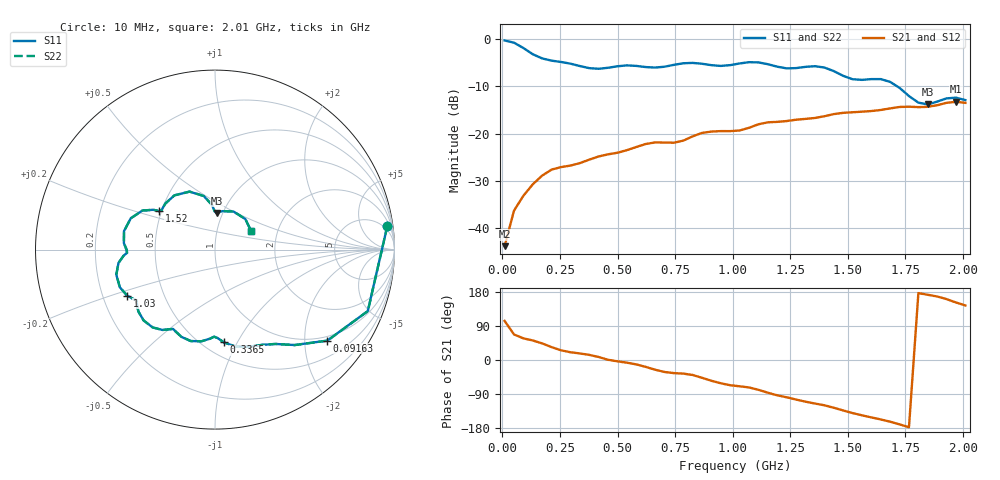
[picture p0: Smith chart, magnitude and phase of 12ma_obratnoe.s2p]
# MHz S MA R 50
!  freq  S11  S21  S12  S22
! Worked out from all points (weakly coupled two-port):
!   50 points, 10 MHz to 2.01 GHz, reference 50 ohm
!   highest |S21| = -13.27 dB at 1.969 GHz (marker M1); lowest = -43.9 dB at 10 MHz (marker M2)
!   lowest |S11| = -13.8 dB at 1.847 GHz (marker M3), VSWR 1.51, Z = 46.8 + j19.9 ohm
!   |S11| at or under -10 dB: 1.714 GHz to end of sweep
!   |S22| runs from -13.8 to -0.3 dB; largest |S21 - S12| = 0.00065
!   S11 on the Smith chart (normalised r, x): 10 MHz: 3, +14; 91.63 MHz: 0.89, -2.55; 336.5 MHz: 0.62, -0.88; 1.03 GHz: 0.30, -0.22; 1.52 GHz: 0.49, +0.24; 2.01 GHz: 1.46, +0.32
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10  0.9689 7.8  0.00641 103.1  0.00639 102.9  0.9688 7.8
50.81633  0.9175 -21.9  0.01525 67.4  0.01525 67.6  0.9179 -21.9
91.63265  0.8053 -39.0  0.02196 57.1  0.02197 57.1  0.806 -39.0
132.449  0.6921 -50.2  0.02903 51.5  0.02898 51.6  0.6924 -50.2
214.0816  0.5919 -63.7  0.04151 34.0  0.04155 33.9  0.592 -63.7
336.5306  0.5191 -84.5  0.0486 17.2  0.0486 17.3  0.5192 -84.6
377.3469  0.4933 -88.3  0.05289 13.5  0.05291 13.5  0.4935 -88.3
540.6122  0.5272 -104.8  0.06665 -7.1  0.06662 -7.1  0.5271 -104.8
703.8776  0.5104 -119.7  0.08029 -31.6  0.08022 -31.7  0.5106 -119.6
826.3265  0.5604 -135.2  0.09336 -39.5  0.09335 -39.5  0.5602 -135.2
1030.408  0.553 -152.4  0.1078 -69.4  0.1077 -69.4  0.5529 -152.4
1112.041  0.5674 -165.8  0.1255 -78.7  0.1256 -78.7  0.5672 -165.8
1234.49  0.4904 -177.8  0.1357 -98.4  0.1358 -98.4  0.4905 -177.8
1356.939  0.5173 168.5  0.1462 -114.8  0.1462 -114.8  0.5174 168.5
1438.571  0.4592 151.7  0.1606 -126.0  0.1608 -126.0  0.4591 151.7
1520.204  0.3764 145.4  0.1681 -140.0  0.1683 -140.0  0.3768 145.4
1601.837  0.3774 137.3  0.1732 -151.5  0.1733 -151.7  0.3772 137.2
1683.469  0.3526 113.7  0.1847 -162.8  0.1846 -162.8  0.3528 113.7
1765.102  0.2497 93.9  0.1925 -177.4  0.1925 -177.3  0.2497 93.9
1846.735  0.2036 87.5  0.1919 172.1  0.192 172.2  0.2039 87.6
1969.184  0.2399 45.3  0.217 151.7  0.217 151.8  0.24 45.3
2010  0.2261 26.9  0.2115 144.0  0.2115 144.1  0.2263 26.9
